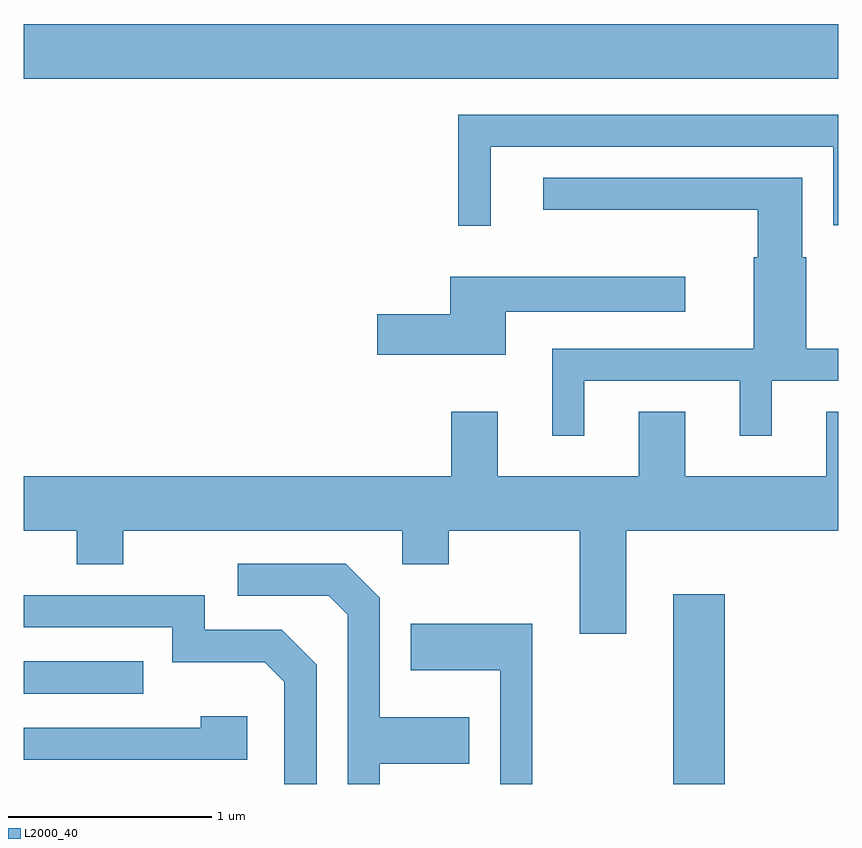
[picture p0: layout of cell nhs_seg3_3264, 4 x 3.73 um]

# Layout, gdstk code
import gdstk
lib = gdstk.Library(unit=1e-6, precision=1e-09)
def R(c, l, rs):  # rectangles x0, y0, x1, y1
    for r in rs: c.add(gdstk.rectangle(r[:2], r[2:], *l))
def P(c, l, *ps):  # polygons
    for p in ps: c.add(gdstk.Polygon(p, *l))
L2000_40 = (2000, 40)

nhs_seg3_3264 = lib.new_cell('nhs_seg3_3264')
R(nhs_seg3_3264, L2000_40, [(284.801,1115.892,285.054,1116.824), (281.611,1116.336,282.198,1116.494), (281.611,1119.356,285.611,1119.624)])
P(nhs_seg3_3264, L2000_40, [(283.904,1119.021),(285.586,1119.021),(285.586,1118.636),(285.611,1118.636),(285.611,1119.179),(283.746,1119.179),(283.746,1118.633),(283.904,1118.633)],
  [(284.364,1117.871),(285.126,1117.871),(285.126,1117.603),(285.284,1117.603),(285.284,1117.871),(285.611,1117.871),(285.611,1118.029),(285.454,1118.029),(285.454,1118.479),(285.434,1118.479),(285.434,1118.869),(284.163,1118.869),(284.163,1118.711),(285.216,1118.711),(285.216,1118.479),(285.196,1118.479),(285.196,1118.029),(284.206,1118.029),(284.206,1117.603),(284.364,1117.603)],
  [(283.979,1118.211),(284.859,1118.211),(284.859,1118.384),(283.706,1118.384),(283.706,1118.199),(283.346,1118.199),(283.346,1118.001),(283.979,1118.001)],
  [(284.569,1117.136),(285.611,1117.136),(285.611,1117.719),(285.551,1117.719),(285.551,1117.404),(284.859,1117.404),(284.859,1117.719),(284.631,1117.719),(284.631,1117.404),(283.939,1117.404),(283.939,1117.719),(283.711,1117.719),(283.711,1117.404),(281.611,1117.404),(281.611,1117.136),(281.871,1117.136),(281.871,1116.971),(282.099,1116.971),(282.099,1117.136),(283.471,1117.136),(283.471,1116.971),(283.699,1116.971),(283.699,1117.136),(284.341,1117.136),(284.341,1116.631),(284.569,1116.631)],
  [(283.359,1115.991),(283.799,1115.991),(283.799,1116.219),(283.359,1116.219),(283.359,1116.807),(283.192,1116.974),(282.663,1116.974),(282.663,1116.816),(283.109,1116.816),(283.201,1116.724),(283.201,1115.892),(283.359,1115.892)],
  [(283.049,1116.477),(282.877,1116.649),(282.499,1116.649),(282.499,1116.819),(281.611,1116.819),(281.611,1116.661),(282.341,1116.661),(282.341,1116.491),(282.794,1116.491),(282.891,1116.394),(282.891,1115.892),(283.049,1115.892)],
  [(284.109,1116.679),(283.511,1116.679),(283.511,1116.451),(283.951,1116.451),(283.951,1115.892),(284.109,1115.892)],
  [(282.709,1116.224),(282.481,1116.224),(282.481,1116.169),(281.611,1116.169),(281.611,1116.011),(282.709,1116.011)])

lib.write_gds('nhs_seg3_3264.gds')
